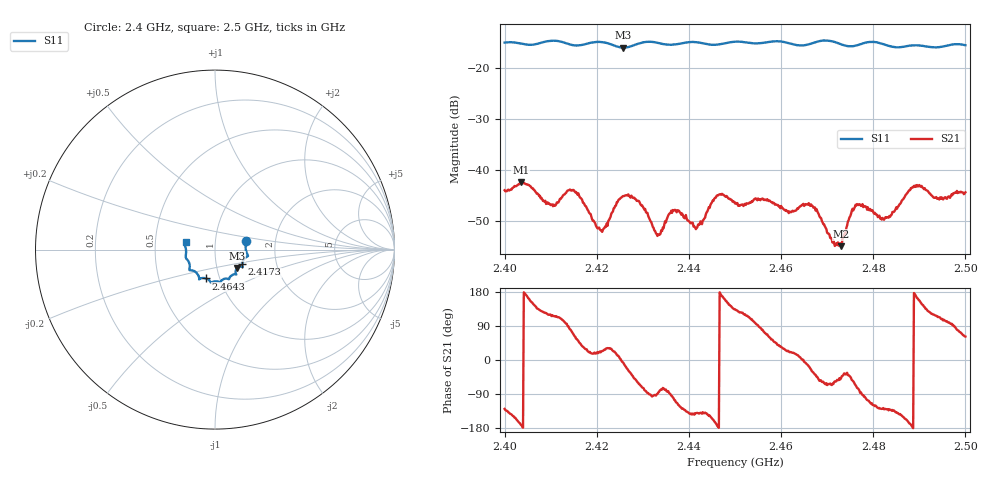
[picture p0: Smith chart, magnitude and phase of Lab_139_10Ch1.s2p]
# Hz S RI R 50
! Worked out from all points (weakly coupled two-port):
!   601 points, 2.4 GHz to 2.5 GHz, reference 50 ohm
!   highest |S21| = -42.31 dB at 2.4035 GHz (marker M1); lowest = -54.9 dB at 2.473 GHz (marker M2)
!   lowest |S11| = -15.9 dB at 2.4257 GHz (marker M3), VSWR 1.38, Z = 62.5 - j13.1 ohm
!   |S11| at or under -10 dB: start of sweep to end of sweep
!   S12 and S22 are empty: the file has one direction only
!   S11 on the Smith chart (normalised r, x): 2.4 GHz: 1.41, +0.14; 2.4173 GHz: 1.34, -0.23; 2.4643 GHz: 0.86, -0.28; 2.5 GHz: 0.72, +0.06
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2.4e9  0.173 0.0487  -0.00403 -0.00494  0 0  0 0
2.4035e9  0.1736 0.0304  -0.00757 -0.00125  0 0  0 0
2.410333e9  0.1842 -0.0342  -0.0022 0.00407  0 0  0 0
2.414e9  0.1664 -0.0474  0.00061 0.00638  0 0  0 0
2.416667e9  0.1526 -0.0746  0.00409 0.00332  0 0  0 0
2.417333e9  0.1518 -0.0819  0.00396 0.0024  0 0  0 0
2.421167e9  0.1536 -0.0968  0.00228 0.001  0 0  0 0
2.425667e9  0.1229 -0.1023  0.00555 -0.000604  0 0  0 0
2.429333e9  0.1161 -0.1336  0.00206 -0.00434  0 0  0 0
2.433333e9  0.1128 -0.1375  0.000161 -0.00235  0 0  0 0
2.436667e9  0.0892 -0.1467  -0.000756 -0.00394  0 0  0 0
2.4415e9  0.0759 -0.1648  -0.00204 -0.00169  0 0  0 0
2.446333e9  0.045 -0.166  -0.00566 -0.000442  0 0  0 0
2.45e9  0.0287 -0.1809  -0.00328 0.00341  0 0  0 0
2.464333e9  -0.0499 -0.1606  0.00446 0.000294  0 0  0 0
2.466667e9  -0.076 -0.1592  0.00394 -0.0022  0 0  0 0
2.473e9  -0.0913 -0.1467  0.0012 -0.00134  0 0  0 0
2.4765e9  -0.1216 -0.1172  0.0013 -0.00448  0 0  0 0
2.483333e9  -0.1405 -0.0899  -0.00233 -0.00251  0 0  0 0
2.489e9  -0.1626 -0.0456  -0.00683 0.000758  0 0  0 0
2.493833e9  -0.1614 -0.00367  -0.0023 0.00474  0 0  0 0
2.5e9  -0.1637 0.0427  0.00287 0.00536  0 0  0 0
